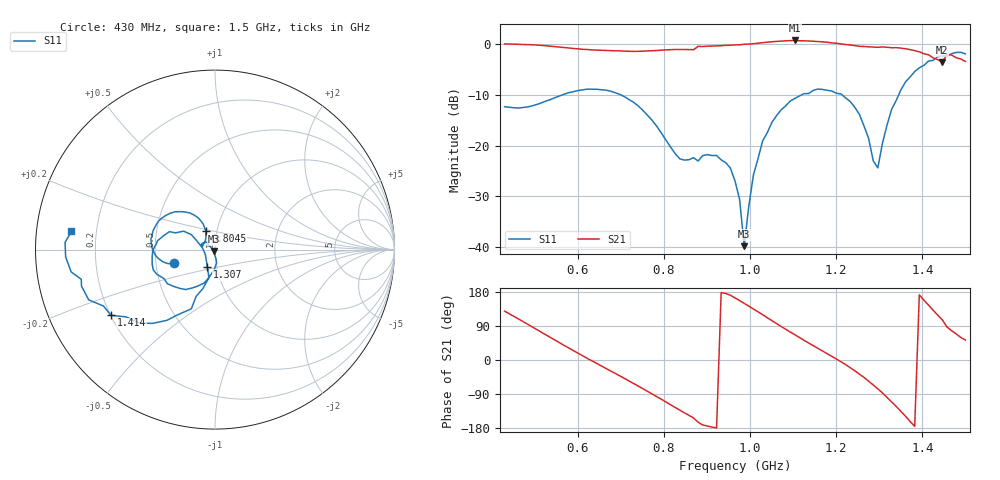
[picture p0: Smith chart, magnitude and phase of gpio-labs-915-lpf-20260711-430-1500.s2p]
# HZ S RI R 50
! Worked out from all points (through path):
!   101 points, 430 MHz to 1.5 GHz, reference 50 ohm
!   highest |S21| = 0.79 dB at 1.104 GHz (marker M1); lowest = -3.5 dB at 1.446 GHz (marker M2)
!   lowest |S11| = -39.9 dB at 986.4 MHz (marker M3), VSWR 1.02, Z = 49.5 - j0.847 ohm
!   |S11| at or under -10 dB: start of sweep to 563.5 MHz; 700.5 MHz to 1.119 GHz (418.6 MHz wide, 46 % of centre); 1.214 GHz to 1.345 GHz (131 MHz wide, 10.2 % of centre)
!   S12 and S22 are empty: the file has one direction only
!   S11 on the Smith chart (normalised r, x): 430 MHz: 0.62, -0.10; 804.5 MHz: 0.89, +0.18; 1.307 GHz: 0.90, -0.18; 1.414 GHz: 0.20, -0.28; 1.5 GHz: 0.11, +0.06
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4.3e8  -0.2299 -0.0762  -0.633 0.7876  0 0  0 0
5.156e8  -0.2529 -0.0781  0.2835 0.9375  0 0  0 0
6.119e8  -0.3546 0.0331  0.8795 0.1665  0 0  0 0
6.975e8  -0.248 0.2036  0.6433 -0.577  0 0  0 0
7.938e8  -0.0572 0.1203  -0.205 -0.8543  0 0  0 0
8.045e8  -0.0505 0.1016  -0.3114 -0.827  0 0  0 0
8.794e8  -0.0672 0.0207  -0.9209 -0.2619  0 0  0 0
9.65e8  -0.0371 0.025  -0.9512 0.2753  0 0  0 0
9.864e8  -0.00537 -0.00856  -0.8645 0.512  0 0  0 0
1.0078e9  0.00567 -0.0508  -0.7124 0.7262  0 0  0 0
1.0292e9  -0.00443 -0.1112  -0.513 0.9064  0 0  0 0
1.1041e9  -0.1976 -0.2158  0.4358 1.005  0 0  0 0
1.1469e9  -0.3241 -0.1374  0.8504 0.6584  0 0  0 0
1.2325e9  -0.2538 0.1  0.9284 -0.3417  0 0  0 0
1.2967e9  -0.0537 -0.027  0.2243 -0.9095  0 0  0 0
1.3074e9  -0.0427 -0.0965  0.0528 -0.944  0 0  0 0
1.3288e9  -0.0684 -0.2182  -0.3287 -0.8676  0 0  0 0
1.3716e9  -0.2683 -0.3942  -0.8468 -0.2724  0 0  0 0
1.4144e9  -0.5793 -0.3661  -0.6448 0.4567  0 0  0 0
1.4465e9  -0.7438 -0.2036  -0.1806 0.6417  0 0  0 0
1.4572e9  -0.7451 -0.1656  0.0383 0.7935  0 0  0 0
1.5e9  -0.8 0.1022  0.4116 0.5395  0 0  0 0
